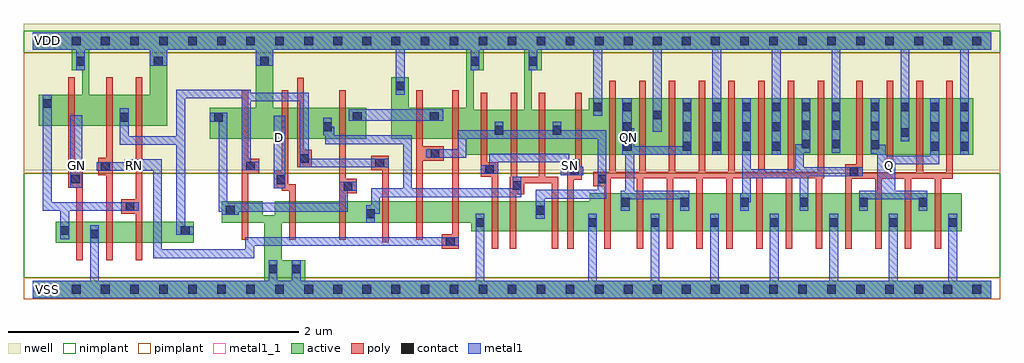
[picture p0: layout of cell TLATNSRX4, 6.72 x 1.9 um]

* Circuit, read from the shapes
.subckt TLATNSRX4 D GN Q QN RN SN VDD VSS
M1 VSS GN n1 VSS nfet w=0.145u l=0.045u
M2 n2 RN VSS VSS nfet w=0.145u l=0.045u
M3 n3 n1 n2 VSS nfet w=0.145u l=0.045u
M4 VSS n3 n4 VSS nfet w=0.145u l=0.045u
M5 n5 D VSS VSS nfet w=0.145u l=0.045u
M6 n6 n4 n5 VSS nfet w=0.145u l=0.045u
M7 n7 n3 n6 VSS nfet w=0.145u l=0.045u
M8 n8 n9 n7 VSS nfet w=0.145u l=0.045u
M9 VSS RN n8 VSS nfet w=0.145u l=0.045u
M10 n10 SN VSS VSS nfet w=0.205u l=0.045u
M11 n9 n6 n10 VSS nfet w=0.205u l=0.045u
M12 n11 n6 n9 VSS nfet w=0.205u l=0.045u
M13 VSS SN n11 VSS nfet w=0.205u l=0.045u
M14 QN n9 VSS VSS nfet w=0.26u l=0.045u m=4
M15 n12 n9 VSS VSS nfet w=0.26u l=0.045u m=4
M16 Q n12 VSS VSS nfet w=0.26u l=0.045u m=4
M17 VDD GN n1 VDD pfet w=0.215u l=0.045u
M18 n3 RN VDD VDD pfet w=0.215u l=0.045u
M19 VDD n1 n3 VDD pfet w=0.215u l=0.045u
M20 VDD n3 n4 VDD pfet w=0.215u l=0.045u
M21 n13 D VDD VDD pfet w=0.215u l=0.045u
M22 n6 n3 n13 VDD pfet w=0.215u l=0.045u
M23 n14 n4 n6 VDD pfet w=0.215u l=0.045u
M24 n14 n9 VDD VDD pfet w=0.215u l=0.045u
M25 VDD RN n14 VDD pfet w=0.215u l=0.045u
M26 n9 SN VDD VDD pfet w=0.31u l=0.045u m=2
M27 VDD n6 n9 VDD pfet w=0.31u l=0.045u m=2
M28 QN n9 VDD VDD pfet w=0.39u l=0.045u m=4
M29 n12 n9 VDD VDD pfet w=0.39u l=0.045u m=4
M30 Q n12 VDD VDD pfet w=0.39u l=0.045u m=4
.ends

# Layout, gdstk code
import gdstk
lib = gdstk.Library(unit=1e-6, precision=5e-10)
def R(c, l, rs):  # rectangles x0, y0, x1, y1
    for r in rs: c.add(gdstk.rectangle(r[:2], r[2:], *l))
def A(c, l, x, y, w, h, nx, ny, dx, dy):  # array of equal rectangles
    R(c, l, [(x+i*dx, y+j*dy, x+i*dx+w, y+j*dy+h) for i in range(nx) for j in range(ny)])
def P(c, l, *ps):  # polygons
    for p in ps: c.add(gdstk.Polygon(p, *l))
active = (1, 0)
nwell = (2, 0)
poly = (3, 0)
nimplant = (4, 0)
pimplant = (5, 0)
contact = (6, 0)
metal1 = (7, 0)
metal1_1 = (7, 1)

tlatnsrx4 = lib.new_cell('TLATNSRX4')
R(tlatnsrx4, active, [(0.16,0.32,1.11,0.465)])
P(tlatnsrx4, active, [(0,1.77),(6.6,1.77),(6.6,1.65),(3.505,1.65),(3.505,1.51),(3.435,1.51),(3.435,1.235),(3.83,1.235),(3.83,1.315),(6.475,1.315),(6.475,0.925),(2.985,0.925),(2.985,1.035),(2.47,1.035),(2.47,1.46),(2.59,1.46),(2.59,1.25),(2.985,1.25),(2.985,1.65),(3.105,1.65),(3.105,1.51),(3.035,1.51),(3.035,1.235),(3.385,1.235),(3.385,1.65),(1.655,1.65),(1.655,1.25),(2.295,1.25),(2.295,1.035),(1.22,1.035),(1.22,1.25),(1.535,1.25),(1.535,1.65),(0.925,1.65),(0.925,1.125),(0.04,1.125),(0.04,1.34),(0.34,1.34),(0.34,1.51),(0.27,1.51),(0.27,1.65),(0.39,1.65),(0.39,1.34),(0.805,1.34),(0.805,1.65),(0,1.65)],
  [(3.835,0.66),(6.395,0.66),(6.395,0.4),(3.02,0.4),(3.02,0.46),(1.715,0.46),(1.715,0.2),(1.875,0.2),(1.875,0.06),(6.6,0.06),(6.6,-0.06),(0,-0.06),(0,0.06),(1.595,0.06),(1.595,0.46),(1.3,0.46),(1.3,0.605),(1.585,0.605),(1.585,0.51),(1.665,0.51),(1.665,0.605),(3.835,0.605)])
R(tlatnsrx4, nwell, [(-0.06,0.82,6.66,1.83)])
P(tlatnsrx4, poly, [(0.245,1.46),(0.29,1.46),(0.29,0.82),(0.345,0.82),(0.345,0.2),(0.3,0.2),(0.3,0.7),(0.245,0.7)],
  [(0.505,1.46),(0.55,1.46),(0.55,0.2),(0.505,0.2),(0.505,0.785),(0.45,0.785),(0.45,0.905),(0.505,0.905)],
  [(0.71,1.46),(0.755,1.46),(0.755,0.2),(0.71,0.2),(0.71,0.52),(0.61,0.52),(0.61,0.62),(0.71,0.62)],
  [(1.44,1.37),(1.485,1.37),(1.485,0.9),(1.56,0.9),(1.56,0.8),(1.485,0.8),(1.485,0.34),(1.44,0.34)],
  [(1.715,1.37),(1.76,1.37),(1.76,0.725),(1.81,0.725),(1.81,0.34),(1.765,0.34),(1.765,0.68),(1.715,0.68),(1.715,0.695),(1.66,0.695),(1.66,0.815),(1.715,0.815)],
  [(1.82,1.455),(1.865,1.455),(1.865,0.96),(1.92,0.96),(1.92,0.84),(1.82,0.84)],
  [(2.11,1.37),(2.155,1.37),(2.155,0.76),(2.23,0.76),(2.23,0.66),(2.155,0.66),(2.155,0.34),(2.11,0.34)],
  [(2.64,1.37),(2.685,1.37),(2.685,0.985),(2.83,0.985),(2.83,0.885),(2.685,0.885),(2.685,0.34),(2.64,0.34)],
  [(2.89,1.37),(2.935,1.37),(2.935,0.28),(2.815,0.28),(2.815,0.38),(2.89,0.38)],
  [(3.085,1.355),(3.13,1.355),(3.13,0.875),(3.205,0.875),(3.205,0.28),(3.16,0.28),(3.16,0.775),(3.085,0.775)],
  [(3.29,1.355),(3.335,1.355),(3.335,0.775),(3.485,0.775),(3.485,1.355),(3.53,1.355),(3.53,0.775),(3.62,0.775),(3.62,0.28),(3.575,0.28),(3.575,0.73),(3.385,0.73),(3.385,0.655),(3.33,0.655),(3.33,0.28),(3.285,0.28),(3.285,0.775),(3.29,0.775)],
  [(3.735,1.355),(3.78,1.355),(3.78,0.755),(3.725,0.755),(3.725,0.28),(3.68,0.28),(3.68,0.875),(3.735,0.875)],
  [(3.97,1.435),(4.015,1.435),(4.015,0.81),(4.175,0.81),(4.175,1.435),(4.22,1.435),(4.22,0.81),(4.38,0.81),(4.38,1.435),(4.425,1.435),(4.425,0.81),(4.585,0.81),(4.585,1.435),(4.63,1.435),(4.63,0.81),(4.79,0.81),(4.79,1.435),(4.835,1.435),(4.835,0.81),(4.995,0.81),(4.995,1.435),(5.04,1.435),(5.04,0.81),(5.2,0.81),(5.2,1.435),(5.245,1.435),(5.245,0.81),(5.405,0.81),(5.405,1.435),(5.45,1.435),(5.45,0.765),(5.435,0.765),(5.435,0.28),(5.39,0.28),(5.39,0.765),(5.23,0.765),(5.23,0.28),(5.185,0.28),(5.185,0.765),(5.025,0.765),(5.025,0.28),(4.98,0.28),(4.98,0.765),(4.82,0.765),(4.82,0.28),(4.775,0.28),(4.775,0.765),(4.615,0.765),(4.615,0.28),(4.57,0.28),(4.57,0.765),(4.41,0.765),(4.41,0.28),(4.365,0.28),(4.365,0.765),(4.205,0.765),(4.205,0.28),(4.16,0.28),(4.16,0.765),(3.98,0.765),(3.98,0.28),(3.935,0.28),(3.935,0.71),(3.86,0.71),(3.86,0.81),(3.97,0.81)],
  [(5.67,1.435),(5.715,1.435),(5.715,0.805),(5.88,0.805),(5.88,1.435),(5.925,1.435),(5.925,0.805),(6.085,0.805),(6.085,1.435),(6.13,1.435),(6.13,0.805),(6.29,0.805),(6.29,1.435),(6.335,1.435),(6.335,0.76),(6.255,0.76),(6.255,0.28),(6.21,0.28),(6.21,0.76),(6.05,0.76),(6.05,0.28),(6.005,0.28),(6.005,0.76),(5.845,0.76),(5.845,0.28),(5.8,0.28),(5.8,0.76),(5.64,0.76),(5.64,0.28),(5.595,0.28),(5.595,0.86),(5.67,0.86)],
  [(2.33,0.92),(2.45,0.92),(2.45,0.325),(2.405,0.325),(2.405,0.82),(2.33,0.82)])
R(tlatnsrx4, nimplant, [(-0.06,0.08,6.66,0.8), (-0.06,1.63,6.66,1.78)])
R(tlatnsrx4, pimplant, [(-0.06,-0.07,6.66,0.08), (-0.06,0.8,6.66,1.63)])
A(tlatnsrx4, contact, 0.07, -0.03, 0.06, 0.06, 33, 2, 0.2, 1.71)
A(tlatnsrx4, contact, 4.255, 0.43, 0.06, 0.06, 6, 1, 0.41, 0)
A(tlatnsrx4, contact, 4.05, 0.57, 0.06, 0.06, 6, 1, 0.41, 0)
A(tlatnsrx4, contact, 4.065, 0.955, 0.06, 0.06, 1, 3, 0, 0.135)
A(tlatnsrx4, contact, 4.475, 0.955, 0.06, 0.06, 4, 2, 0.205, 0.135)
A(tlatnsrx4, contact, 4.475, 1.225, 0.06, 0.06, 6, 1, 0.205, 0)
A(tlatnsrx4, contact, 5.77, 1.225, 0.06, 0.06, 4, 1, 0.205, 0)
R(tlatnsrx4, contact, [(1.625,0.11,1.685,0.17), (1.785,0.11,1.845,0.17), (2.845,0.3,2.905,0.36), (0.395,0.35,0.455,0.41), (0.19,0.375,0.25,0.435), (1.02,0.375,1.08,0.435), (3.05,0.43,3.11,0.49), (3.825,0.43,3.885,0.49), (2.295,0.49,2.355,0.55), (1.33,0.515,1.39,0.575), (3.465,0.515,3.525,0.575), (0.64,0.54,0.7,0.6), (2.14,0.68,2.2,0.74), (3.305,0.685,3.365,0.745), (1.68,0.725,1.74,0.785), (0.265,0.73,0.325,0.79), (3.89,0.73,3.95,0.79), (5.625,0.78,5.685,0.84), (3.7,0.785,3.76,0.845), (3.115,0.795,3.175,0.855), (0.47,0.815,0.53,0.875), (1.47,0.82,1.53,0.88), (2.36,0.84,2.42,0.9), (1.84,0.87,1.9,0.93), (2.74,0.905,2.8,0.965), (6.18,0.955,6.24,1.015), (6.385,0.955,6.445,1.015), (5.77,0.965,5.83,1.025), (5.295,0.97,5.355,1.03), (5.5,0.97,5.56,1.03), (5.975,1.05,6.035,1.11), (3.18,1.065,3.24,1.125), (3.58,1.065,3.64,1.125), (2,1.09,2.06,1.15), (6.18,1.09,6.24,1.15), (6.385,1.09,6.445,1.15), (5.77,1.095,5.83,1.155), (5.295,1.1,5.355,1.16), (5.5,1.1,5.56,1.16), (0.6,1.155,0.66,1.215), (1.25,1.155,1.31,1.215), (2.205,1.16,2.265,1.22), (2.735,1.16,2.795,1.22), (4.27,1.17,4.33,1.23), (3.86,1.225,3.92,1.285), (0.07,1.25,0.13,1.31), (2.5,1.37,2.56,1.43), (0.3,1.54,0.36,1.6), (0.835,1.54,0.895,1.6), (1.565,1.54,1.625,1.6), (3.015,1.54,3.075,1.6), (3.415,1.54,3.475,1.6)])
R(tlatnsrx4, metal1, [(1.66,0.695,1.74,1.195), (0.26,0.7,0.34,1.2), (2.175,1.16,2.825,1.24)])
P(tlatnsrx4, metal1, [(0,1.77),(6.6,1.77),(6.6,1.65),(6.445,1.65),(6.445,0.925),(6.385,0.925),(6.385,1.65),(6.035,1.65),(6.035,1.02),(5.975,1.02),(5.975,1.65),(5.56,1.65),(5.56,0.94),(5.5,0.94),(5.5,1.65),(5.15,1.65),(5.15,0.925),(5.09,0.925),(5.09,1.65),(4.74,1.65),(4.74,0.925),(4.68,0.925),(4.68,1.65),(4.33,1.65),(4.33,1.085),(4.27,1.085),(4.27,1.65),(3.92,1.65),(3.92,1.195),(3.86,1.195),(3.86,1.65),(3.475,1.65),(3.475,1.51),(3.415,1.51),(3.415,1.65),(3.075,1.65),(3.075,1.51),(3.015,1.51),(3.015,1.65),(2.56,1.65),(2.56,1.34),(2.5,1.34),(2.5,1.65),(1.655,1.65),(1.655,1.54),(1.535,1.54),(1.535,1.65),(0.925,1.65),(0.925,1.54),(0.805,1.54),(0.805,1.65),(0.36,1.65),(0.36,1.51),(0.3,1.51),(0.3,1.65),(0,1.65)],
  [(0.99,1.375),(1.5,1.375),(1.5,1.355),(1.9,1.355),(1.9,0.9),(2.45,0.9),(2.45,0.84),(1.84,0.84),(1.84,1.295),(1.5,1.295),(1.5,0.88),(1.56,0.88),(1.56,0.82),(1.44,0.82),(1.44,1.315),(1.05,1.315),(1.05,0.435),(1.11,0.435),(1.11,0.375),(0.99,0.375),(0.99,0.995),(0.6,0.995),(0.6,1.245),(0.66,1.245),(0.66,1.055),(0.99,1.055)],
  [(0.07,1.34),(0.13,1.34),(0.13,0.6),(0.73,0.6),(0.73,0.54),(0.25,0.54),(0.25,0.345),(0.19,0.345),(0.19,0.54),(0.07,0.54)],
  [(1.22,1.215),(1.34,1.215),(1.34,0.595),(2.11,0.595),(2.11,0.74),(2.23,0.74),(2.23,0.68),(2.17,0.68),(2.17,0.535),(1.42,0.535),(1.42,0.515),(1.3,0.515),(1.3,0.535),(1.28,0.535),(1.28,1.155),(1.22,1.155)],
  [(0.635,0.895),(0.89,0.895),(0.89,0.275),(1.465,0.275),(1.465,0.36),(2.935,0.36),(2.935,0.3),(1.525,0.3),(1.525,0.215),(0.83,0.215),(0.83,0.815),(0.44,0.815),(0.44,0.875),(0.635,0.875)],
  [(0.395,0.44),(0.455,0.44),(0.455,0.06),(1.625,0.06),(1.625,0.2),(1.685,0.2),(1.685,0.06),(1.785,0.06),(1.785,0.2),(1.845,0.2),(1.845,0.06),(3.05,0.06),(3.05,0.52),(3.11,0.52),(3.11,0.06),(3.825,0.06),(3.825,0.52),(3.885,0.52),(3.885,0.06),(4.255,0.06),(4.255,0.52),(4.315,0.52),(4.315,0.06),(4.665,0.06),(4.665,0.52),(4.725,0.52),(4.725,0.06),(5.075,0.06),(5.075,0.52),(5.135,0.52),(5.135,0.06),(5.485,0.06),(5.485,0.52),(5.545,0.52),(5.545,0.06),(5.895,0.06),(5.895,0.52),(5.955,0.52),(5.955,0.06),(6.305,0.06),(6.305,0.52),(6.365,0.52),(6.365,0.06),(6.6,0.06),(6.6,-0.06),(0,-0.06),(0,0.06),(0.395,0.06)],
  [(2,1.18),(2.06,1.18),(2.06,1.12),(2.075,1.12),(2.075,1.06),(2.61,1.06),(2.61,0.695),(3.305,0.695),(3.305,0.775),(3.365,0.775),(3.365,0.635),(2.39,0.635),(2.39,0.52),(2.355,0.52),(2.355,0.46),(2.295,0.46),(2.295,0.58),(2.33,0.58),(2.33,0.695),(2.55,0.695),(2.55,1),(2.015,1),(2.015,1.06),(2,1.06)],
  [(3.18,1.155),(3.24,1.155),(3.24,1.095),(3.58,1.095),(3.58,1.155),(3.64,1.155),(3.64,1.095),(3.95,1.095),(3.95,0.625),(3.525,0.625),(3.525,0.485),(3.465,0.485),(3.465,0.685),(3.89,0.685),(3.89,1.035),(2.985,1.035),(2.985,0.905),(2.71,0.905),(2.71,0.965),(2.925,0.965),(2.925,1.095),(3.18,1.095)],
  [(4.06,1.315),(4.125,1.315),(4.125,1.11),(4.14,1.11),(4.14,0.985),(4.475,0.985),(4.475,1.315),(4.535,1.315),(4.535,0.925),(4.14,0.925),(4.14,0.68),(4.52,0.68),(4.52,0.54),(4.46,0.54),(4.46,0.62),(4.11,0.62),(4.11,0.54),(4.05,0.54),(4.05,0.68),(4.08,0.68),(4.08,0.925),(4.06,0.925)],
  [(3.145,0.935),(3.695,0.935),(3.695,0.895),(3.765,0.895),(3.765,0.845),(3.79,0.845),(3.79,0.785),(3.635,0.785),(3.635,0.875),(3.205,0.875),(3.205,0.795),(3.085,0.795),(3.085,0.855),(3.145,0.855)],
  [(4.885,1.315),(4.945,1.315),(4.945,0.825),(5.25,0.825),(5.25,1),(5.295,1),(5.295,1.315),(5.355,1.315),(5.355,0.94),(5.31,0.94),(5.31,0.84),(5.715,0.84),(5.715,0.78),(5.34,0.78),(5.34,0.54),(5.28,0.54),(5.28,0.765),(4.945,0.765),(4.945,0.6),(4.93,0.6),(4.93,0.54),(4.87,0.54),(4.87,0.66),(4.885,0.66)],
  [(5.77,1.315),(5.83,1.315),(5.83,0.995),(5.875,0.995),(5.875,0.92),(6.18,0.92),(6.18,1.315),(6.24,1.315),(6.24,0.86),(5.94,0.86),(5.94,0.68),(6.16,0.68),(6.16,0.54),(6.1,0.54),(6.1,0.62),(5.75,0.62),(5.75,0.54),(5.69,0.54),(5.69,0.68),(5.815,0.68),(5.815,0.935),(5.77,0.935)])
R(tlatnsrx4, metal1_1, [(0.06,-0.04,0.14,0.04), (0.26,0.815,0.34,0.895), (0.66,0.815,0.74,0.895), (3.66,0.815,3.74,0.895), (5.86,0.815,5.94,0.895), (1.66,1.005,1.74,1.085), (4.06,1.005,4.14,1.085), (0.06,1.67,0.14,1.75)])
tlatnsrx4.add(gdstk.Label('Q', (5.9,0.855), layer=7, texttype=1))
tlatnsrx4.add(gdstk.Label('QN', (4.1,1.045), layer=7, texttype=1))
tlatnsrx4.add(gdstk.Label('SN', (3.7,0.855), layer=7, texttype=1))
tlatnsrx4.add(gdstk.Label('D', (1.7,1.045), layer=7, texttype=1))
tlatnsrx4.add(gdstk.Label('RN', (0.7,0.855), layer=7, texttype=1))
tlatnsrx4.add(gdstk.Label('GN', (0.3,0.855), layer=7, texttype=1))
tlatnsrx4.add(gdstk.Label('VDD', (0.1,1.71), layer=7, texttype=1))
tlatnsrx4.add(gdstk.Label('VSS', (0.1,0), layer=7, texttype=1))
tlatnsrx4.add(gdstk.Label('TLATNSRX4', (0,0), layer=63, texttype=0))

lib.write_gds('TLATNSRX4.gds')
